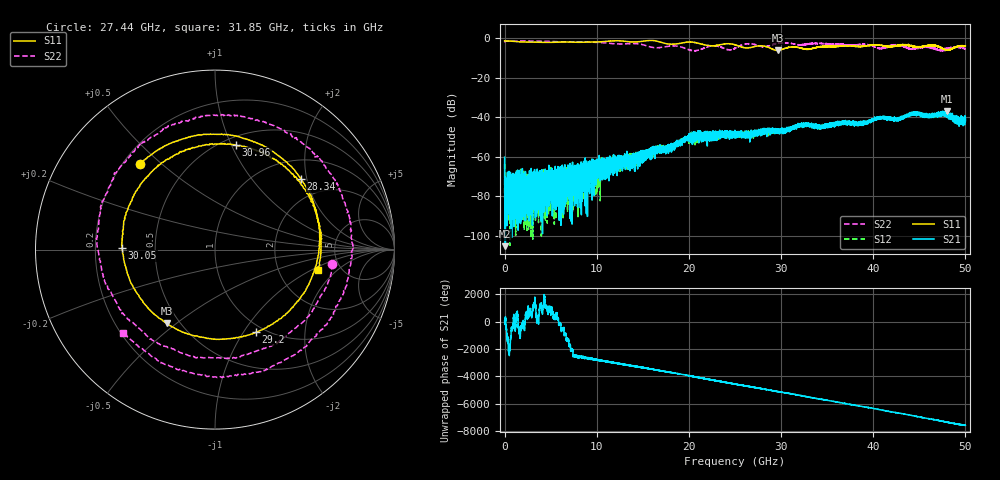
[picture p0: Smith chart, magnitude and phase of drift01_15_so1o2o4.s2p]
!Created with skrf (http://scikit-rf.org).
# Hz S RI R 50.0
!freq ReS11 ImS11 ReS21 ImS21 ReS12 ImS12 ReS22 ImS22
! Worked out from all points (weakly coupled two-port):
!   10001 points, 300 kHz to 50 GHz, reference 50 ohm
!   highest |S21| = -36.97 dB at 48.04 GHz (marker M1); lowest = -105.4 dB at 80.3 MHz (marker M2)
!   lowest |S11| = -6.2 dB at 29.62 GHz (marker M3), VSWR 2.92, Z = 21.4 - j22.9 ohm
!   |S11| at or under -10 dB: nowhere
!   |S22| runs from -6.6 to -1.4 dB; largest |S21 - S12| = 0.0048
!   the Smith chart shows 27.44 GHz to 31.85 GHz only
!   S11 on the Smith chart (normalised r, x): 27.44 GHz: 0.27, +0.42; 28.34 GHz: 1.44, +1.84; 29.2 GHz: 0.91, -1.14; 30.05 GHz: 0.32, +0.01; 30.96 GHz: 0.58, +1.04; 31.85 GHz: 3.41, -1.18
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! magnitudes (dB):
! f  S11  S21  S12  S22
! 300 kHz  -1.3  -60.3  -63.5  -2.2
! 80.3 MHz  -1.4  -105.4  -76.5  -1.5
! 255.3 MHz  -1.4  -94.0  -80.3  -1.4
! 2.27 GHz  -1.9  -92.5  -81.1  -1.4
! 8.335 GHz  -2.0  -67.7  -76.0  -1.8
! 9.72 GHz  -1.9  -79.8  -65.6  -2.0
! 16.67 GHz  -1.6  -57.8  -56.9  -4.8
! 20.24 GHz  -1.9  -50.0  -49.6  -6.2
! 22.6 GHz  -3.9  -47.1  -50.1  -3.8
! 25 GHz  -3.3  -48.0  -48.4  -5.1
! 27.44 GHz  -3.9  -47.8  -48.3  -3.6
! 28.34 GHz  -4.2  -46.8  -48.3  -4.3
! 29.2 GHz  -5.8  -46.9  -47.1  -3.1
! 29.62 GHz  -6.2  -47.0  -47.0  -2.5
! 30.05 GHz  -5.7  -46.7  -46.1  -2.3
! 30.96 GHz  -4.5  -46.2  -45.8  -2.5
! 31.85 GHz  -4.6  -44.0  -44.3  -3.2
! 33.34 GHz  -5.3  -44.6  -43.7  -2.7
! 41.67 GHz  -4.3  -40.0  -40.8  -4.3
! 46.42 GHz  -3.6  -39.1  -39.3  -4.6
! 48.04 GHz  -5.9  -37.0  -38.8  -5.3
! 50 GHz  -3.9  -42.1  -40.7  -5.4
